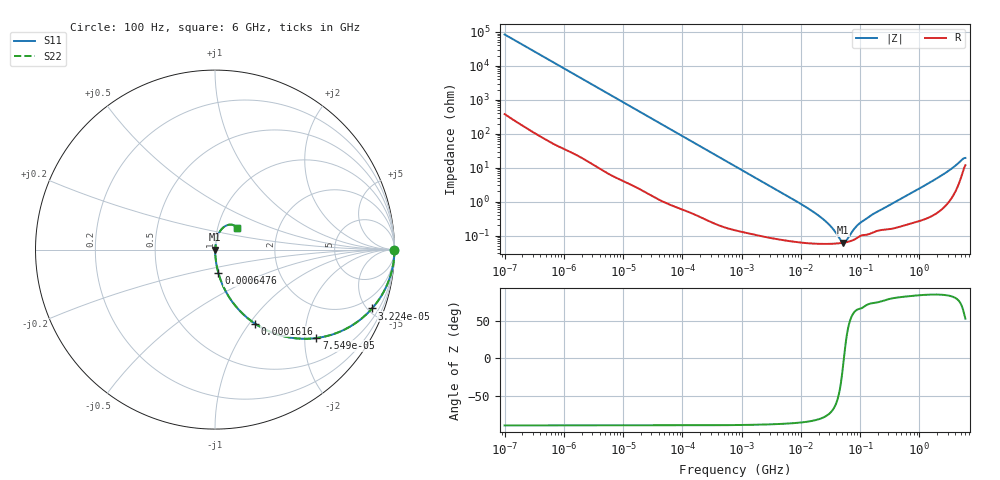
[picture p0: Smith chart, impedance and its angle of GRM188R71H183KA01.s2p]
!Murata Part Number: GRM188R71H183KA01
!These Parameters are Measured in Series Mode Connection
!Data Generated on Mar 30, 2021
!  o--ll--o
!Port1  Port2
!  o------o
!Operation Temp=25[degC], DC Bias Voltage=0[V]
!Freq. Start=100[Hz] Stop=6[GHz] 401[Steps]
# Hz S RI R 50
!Freq.(Hz) S11(Real) S11(Imag) S21(Real) S21(Imag) S12(Real) S12(Imag) S22(Real) S22(Imag)
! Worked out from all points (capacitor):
!   401 points, 100 Hz to 6 GHz, reference 50 ohm
!   read as one part in series: C = 18.8 nF near 109 Hz
!   lowest |Z| = 61.8 mohm at 52.11 MHz (marker M1)
!   series resonance near 53.42 MHz, so ESL is about 470 pH
!   S11 on the Smith chart (normalised r, x): 100 Hz: open; 32.24 kHz: 1.03, -5.32; 75.5 kHz: 1.01, -2.28; 161.6 kHz: 1.01, -1.07; 647.6 kHz: 1.00, -0.27; 6 GHz: 1.24, +0.31
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100  1 -0.00118  6.7e-06 0.00118  6.7e-06 0.00118  1 -0.00118
2008  0.9993 -0.0236  0.000664 0.0236  0.000664 0.0236  0.9993 -0.0236
9626  0.987 -0.1111  0.013 0.1111  0.013 0.1111  0.987 -0.1111
32244  0.875 -0.3281  0.125 0.3281  0.125 0.3281  0.875 -0.3281
40335  0.818 -0.3832  0.182 0.3832  0.182 0.3832  0.818 -0.3832
75495  0.5646 -0.4927  0.4354 0.4927  0.4354 0.4927  0.5646 -0.4927
161617  0.2237 -0.4129  0.7763 0.4129  0.7763 0.4129  0.2237 -0.4129
289253  0.0842 -0.2733  0.9158 0.2733  0.9158 0.2733  0.0842 -0.2733
647581  0.0191 -0.1313  0.9809 0.1313  0.9809 0.1313  0.0191 -0.1313
774597  0.0138 -0.1104  0.9862 0.1104  0.9862 0.1104  0.0138 -0.1104
2481164  0.00214 -0.0351  0.9979 0.0351  0.9979 0.0351  0.00214 -0.0351
1.555665e7  0.000608 -0.00522  0.9994 0.00522  0.9994 0.00522  0.000608 -0.00522
2.911731e7  0.000572 -0.00215  0.9994 0.00215  0.9994 0.00215  0.000572 -0.00215
4.764863e7  0.0006 -0.000382  0.9994 0.000382  0.9994 0.000382  0.0006 -0.000382
5.211241e7  0.000612 -8.19e-05  0.9994 8.19e-05  0.9994 8.19e-05  0.000612 -8.19e-05
5.960426e7  0.000639 0.000369  0.9994 -0.000369  0.9994 -0.000369  0.000639 0.000369
7.797396e7  0.000745 0.0013  0.9993 -0.0013  0.9993 -0.0013  0.000745 0.0013
9.753859e7  0.000944 0.00207  0.9991 -0.00207  0.9991 -0.00207  0.000944 0.00207
3.124326e8  0.00159 0.00768  0.9984 -0.00768  0.9984 -0.00768  0.00159 0.00768
3.205649e9  0.0167 0.0808  0.9833 -0.0808  0.9833 -0.0808  0.0167 0.0808
5.245841e9  0.0792 0.139  0.9208 -0.139  0.9208 -0.139  0.0792 0.139
6e9  0.1223 0.1205  0.8777 -0.1205  0.8777 -0.1205  0.1223 0.1205
